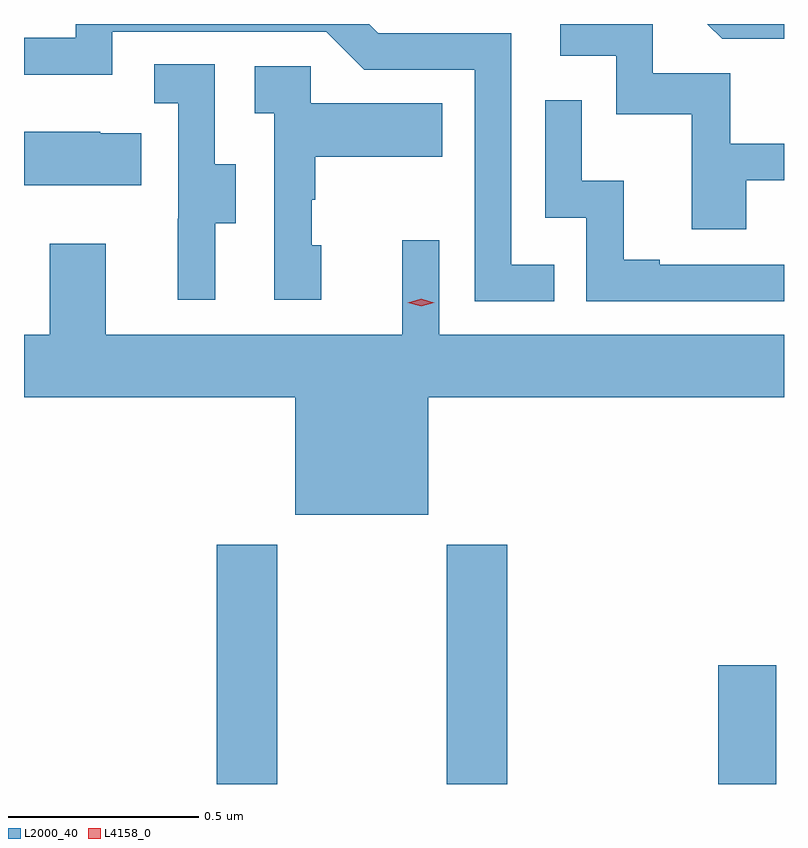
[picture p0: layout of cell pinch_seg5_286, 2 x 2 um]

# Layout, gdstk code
import gdstk
lib = gdstk.Library(unit=1e-6, precision=1e-09)
def R(c, l, rs):  # rectangles x0, y0, x1, y1
    for r in rs: c.add(gdstk.rectangle(r[:2], r[2:], *l))
def P(c, l, *ps):  # polygons
    for p in ps: c.add(gdstk.Polygon(p, *l))
L2000_40 = (2000, 40)
L4158_0 = (4158, 0)

pinch_seg5_286 = lib.new_cell('pinch_seg5_286')
R(pinch_seg5_286, L2000_40, [(906.191,909.022,906.351,909.652), (906.796,909.022,906.956,909.652), (907.511,909.022,907.663,909.334)])
P(pinch_seg5_286, L2000_40, [(907.684,911.022),(907.482,911.022),(907.521,910.983),(907.684,910.983)],
  [(907.079,910.389),(906.966,910.389),(906.966,910.998),(906.616,910.998),(906.592,911.022),(905.82,911.022),(905.82,910.986),(905.684,910.986),(905.684,910.889),(905.916,910.889),(905.916,911.001),(906.48,911.001),(906.579,910.902),(906.87,910.902),(906.87,910.293),(907.079,910.293)],
  [(907.585,910.611),(907.684,910.611),(907.684,910.707),(907.543,910.707),(907.543,910.893),(907.338,910.893),(907.338,911.022),(907.095,911.022),(907.095,910.938),(907.242,910.938),(907.242,910.785),(907.441,910.785),(907.441,910.482),(907.585,910.482)],
  [(906.187,910.498),(906.241,910.498),(906.241,910.653),(906.186,910.653),(906.186,910.916),(906.027,910.916),(906.027,910.813),(906.09,910.813),(906.09,910.509),(906.089,910.509),(906.089,910.296),(906.187,910.296)],
  [(906.466,910.44),(906.441,910.44),(906.441,910.559),(906.451,910.559),(906.451,910.673),(906.785,910.673),(906.785,910.813),(906.438,910.813),(906.438,910.911),(906.291,910.911),(906.291,910.787),(906.342,910.787),(906.342,910.296),(906.466,910.296)],
  [(907.684,910.389),(907.357,910.389),(907.357,910.402),(907.262,910.402),(907.262,910.61),(907.152,910.61),(907.152,910.822),(907.056,910.822),(907.056,910.512),(907.164,910.512),(907.164,910.293),(907.684,910.293)],
  [(905.993,910.735),(905.885,910.735),(905.885,910.738),(905.684,910.738),(905.684,910.598),(905.993,910.598)],
  [(906.748,910.04),(907.684,910.04),(907.684,910.204),(906.777,910.204),(906.777,910.453),(906.68,910.453),(906.68,910.204),(905.899,910.204),(905.899,910.444),(905.752,910.444),(905.752,910.204),(905.684,910.204),(905.684,910.04),(906.398,910.04),(906.398,909.731),(906.748,909.731)])
P(pinch_seg5_286, L4158_0, [(906.729,910.279),(906.694,910.289),(906.694,910.289),(906.694,910.289),(906.729,910.299),(906.764,910.288),(906.764,910.288),(906.764,910.288)])

lib.write_gds('pinch_seg5_286.gds')
